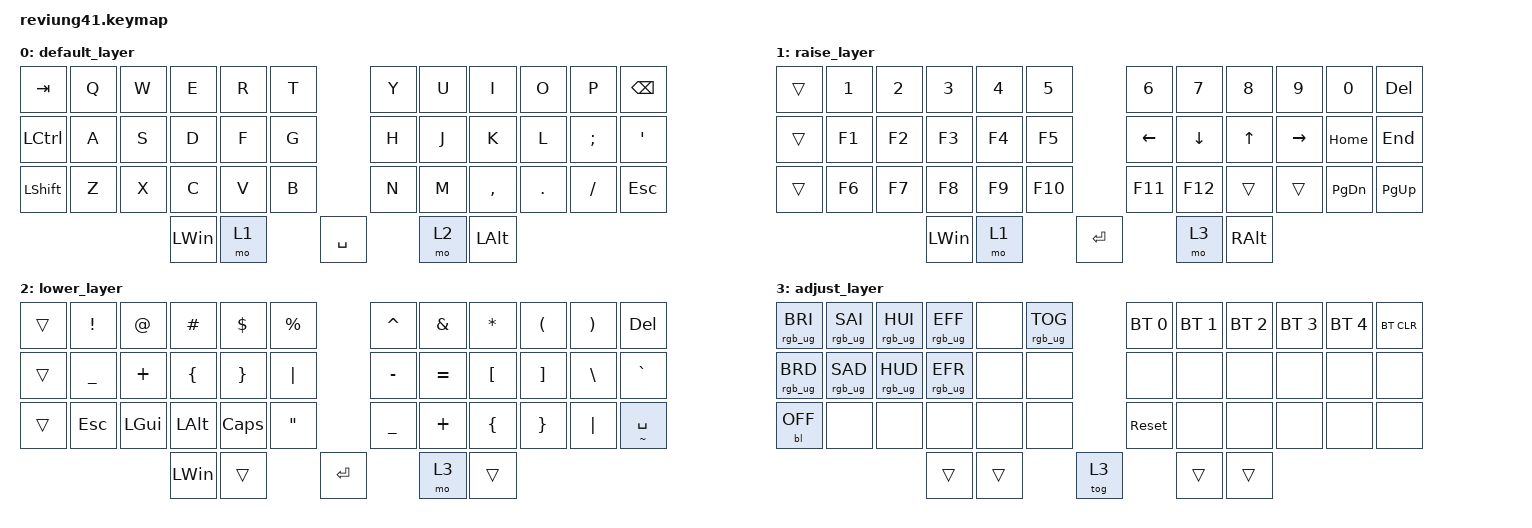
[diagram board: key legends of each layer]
/*
 * Copyright (c) 2020 The ZMK Contributors
 *
 * SPDX-License-Identifier: MIT
 */

#include <behaviors.dtsi>
#include <dt-bindings/zmk/backlight.h>
#include <dt-bindings/zmk/bt.h>
#include <dt-bindings/zmk/keys.h>
#include <dt-bindings/zmk/rgb.h>

/ {
    keymap {
        compatible = "zmk,keymap";

        default_layer {
            // -------------------------------------------------------------------------------------
            // |  TAB |  Q  |  W  |  E  |  R  |  T  |   |  Y  |  U   |  I  |  O  |  P  |   BKSP    |
            // | CTRL |  A  |  S  |  D  |  F  |  G  |   |  H  |  J   |  K  |  L  |  ;  |    '      |
            // | SHFT |  Z  |  X  |  C  |  V  |  B  |   |  N  |  M   |  ,  |  .  |  /  | SHFT(RET) |
            //                         | ALT | LWR | SPC | RSE  | ALT |

            bindings = <
&kp TAB    &kp Q  &kp W  &kp E         &kp R  &kp T             &kp Y  &kp U  &kp I         &kp O    &kp P     &kp BSPC
&kp LCTRL  &kp A  &kp S  &kp D         &kp F  &kp G             &kp H  &kp J  &kp K         &kp L    &kp SEMI  &kp SQT
&kp LSHFT  &kp Z  &kp X  &kp C         &kp V  &kp B             &kp N  &kp M  &kp COMMA     &kp DOT  &kp FSLH  &kp ESCAPE
                         &kp LEFT_WIN  &mo 1         &kp SPACE         &mo 2  &kp LEFT_ALT
            >;
        };

        raise_layer {
            // ----------------------------------------------------------------------------
            // |    |  1  |  2  |  3  |  4  |  5  |   |  6  |  7  |  8  |  9  |  0  | DEL |
            // |    |  -  |  =  |  [  |  ]  |  \  |   | F1  | F2  | F3  | F4  | F5  | F6  |
            // |    | ESC | GUI | ALT | CAPS|  "  |   | F7  | F8  | F9  | F10 | F11 | F12 |
            //                       |     | ADJ | BKSP |    |     |

            bindings = <
&trans  &kp N1  &kp N2  &kp N3        &kp N4  &kp N5              &kp N6          &kp N7          &kp N8         &kp N9           &kp N0         &kp DELETE
&trans  &kp F1  &kp F2  &kp F3        &kp F4  &kp F5              &kp LEFT_ARROW  &kp DOWN_ARROW  &kp UP_ARROW   &kp RIGHT_ARROW  &kp HOME       &kp END
&trans  &kp F6  &kp F7  &kp F8        &kp F9  &kp F10             &kp F11         &kp F12         &trans         &trans           &kp PAGE_DOWN  &kp PAGE_UP
                        &kp LEFT_WIN  &mo 1            &kp ENTER                  &mo 3           &kp RIGHT_ALT
            >;
        };

        lower_layer {
            // ------------------------------------------------------------------------------------
            // |    |  !  |  @  |  #  |  $  |  %  |   |  ^  |  &  |  *  |  (  |  )  |      DEL    |
            // |    |  _  |  +  |  {  |  }  | "|" |   | LFT | DWN |  UP | RGT |  `  |       ~     |
            // |    | ESC | GUI | ALT | CAPS|  "  |   | HOME| END | PGUP| PGDN| PRSC| SHFT(SPACE) |
            //                       |     |     | RET | ADJ |     |

            bindings = <
&trans  &kp EXCL   &kp AT    &kp HASH      &kp DLLR  &kp PRCNT           &kp CARET       &kp AMPS   &kp ASTRK         &kp LPAR           &kp RPAR       &kp DELETE
&trans  &kp UNDER  &kp PLUS  &kp LBRC      &kp RBRC  &kp PIPE            &kp MINUS       &kp EQUAL  &kp LEFT_BRACKET  &kp RIGHT_BRACKET  &kp BACKSLASH  &kp GRAVE
&trans  &kp ESC    &kp LGUI  &kp LALT      &kp CLCK  &kp DQT             &kp UNDERSCORE  &kp PLUS   &kp LEFT_BRACE    &kp RIGHT_BRACE    &kp PIPE       &mt TILDE SPACE
                             &kp LEFT_WIN  &trans               &kp RET                  &mo 3      &trans
            >;
        };

        adjust_layer {
            // -----------------------------------------------------------------------------------------
            // | RGB BRI+ | RGB SAT+ | RGB HUE+ | RGB ANI+ |    | RGB TOG |   |  BT1  | BT2 | BT3 | BT4 | BT5 | BT CLR |
            // | RGB BRI- | RGB SAT- | RGB HUE- | RGB ANI- |    |         |   |       |     |     |     |     |        |
            // |          |          |          |          |    |         |   | RESET |     |     |     |     |        |
            //                                              |     |     |     |     |     |

            bindings = <
&rgb_ug RGB_BRI  &rgb_ug RGB_SAI  &rgb_ug RGB_HUI  &rgb_ug RGB_EFF  &none   &rgb_ug RGB_TOG          &bt BT_SEL 0  &bt BT_SEL 1  &bt BT_SEL 2  &bt BT_SEL 3  &bt BT_SEL 4  &bt BT_CLR
&rgb_ug RGB_BRD  &rgb_ug RGB_SAD  &rgb_ug RGB_HUD  &rgb_ug RGB_EFR  &none   &none                    &none         &none         &none         &none         &none         &none
&bl BL_OFF       &none            &none            &none            &none   &none                    &sys_reset    &none         &none         &none         &none         &none
                                                   &trans           &trans                   &tog 3                &trans        &trans
            >;
        };
    };
};
